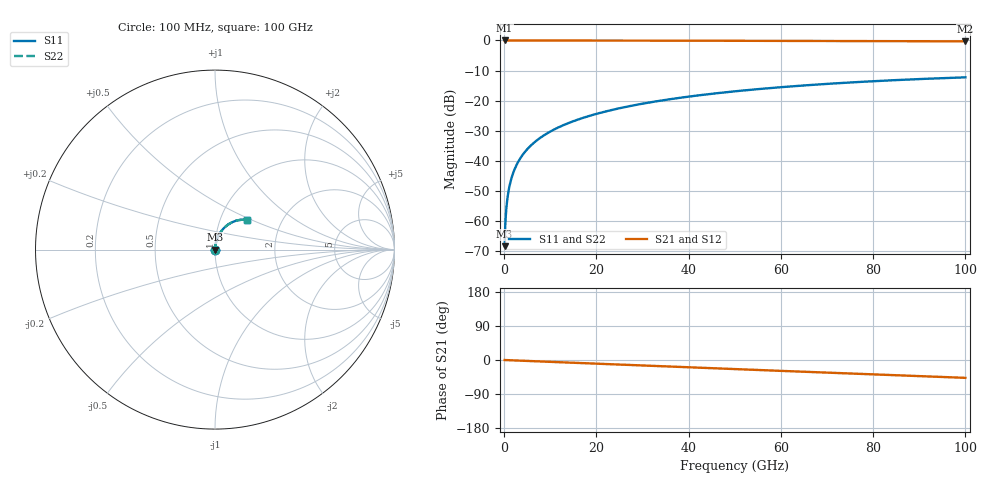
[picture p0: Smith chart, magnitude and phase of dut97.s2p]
! Touchstone file exported from HFSS 2026.1.0
!  File:  C:/ffzhzh/LocalFiles/Ansys_Project_Files/temp_train_TSV_97_1783505715_41296.aedt
!  Generated:  06:16:42 PM Jul  8, 2026
!  Design:  TSV
!  Project:  temp_train_TSV_97_1783505715_41296
! Variables:
!  h_bsmrdl = 2um
!  h_ox = 20um
!  h_rdl = 5um
!  h_sub = 86.63um
!  h_tmrdl = 5um
!  h_tsv = 86.63um
!  h_via = 3um
!  l_bsmrdl = 300um
!  l_sub = 417.82um
!  l_tmrdl = 200um
!  m_sub = 200um
!  pitch = 58.33um
!  r_tsv = 8.91um
!  s_tmrdl = 10um
!  w_bsmrdl = 18um
!  w_sub = 500um
!  w_tmrdl = 12um
!  x_tsv_center1 = 206um
!  x_tsv_center2 = 524um
!  x_tsv_center3 = 736um
!  x_tsv_center4 = 1054um
!  x_tsv_center5 = 1266um
!  x_tsv_center6 = 1584um
# GHz S MA R 50.000000
! Terminal data exported
! Port[1] = TSV1_1_T1
! Port[2] = TSV1_1_T2
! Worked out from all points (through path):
!   1000 points, 100 MHz to 100 GHz, reference 50 ohm
!   highest |S21| = 0.00 dB at 100 MHz (marker M1); lowest = -0.3 dB at 100 GHz (marker M2)
!   group delay of S21, straight-line fit = 1.31 ps
!   lowest |S11| = -68.4 dB at 100 MHz (marker M3), VSWR 1.00, Z = 50 + j0.0346 ohm
!   |S11| at or under -10 dB: start of sweep to end of sweep
!   |S22| runs from -68.4 to -12.3 dB; largest |S21 - S12| = 3.5e-15
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0.1  0.0003799 65.4  0.9998 -0.1  0.9998 -0.1  0.0003799 65.4
! Gamma 0 0 0 0
! Port Impedance 50 0 50 0
0.3  0.001043 79.6  0.9998 -0.2  0.9998 -0.2  0.001043 79.6
0.7  0.002342 83.1  0.9997 -0.4  0.9997 -0.4  0.002342 83.1
0.8  0.002659 83.5  0.9997 -0.4  0.9997 -0.4  0.002659 83.5
1  0.003289 84.0  0.9997 -0.5  0.9997 -0.5  0.003289 84.0
1.3  0.004226 84.5  0.9996 -0.6  0.9996 -0.6  0.004226 84.5
1.7  0.005467 84.8  0.9996 -0.8  0.9996 -0.8  0.005467 84.8
2.3  0.007318 85.1  0.9995 -1.1  0.9995 -1.1  0.007318 85.1
3  0.009462 85.2  0.9994 -1.5  0.9994 -1.5  0.009462 85.2
3.8  0.0119 85.1  0.9993 -1.9  0.9993 -1.9  0.0119 85.1
4.8  0.01493 85.0  0.9992 -2.3  0.9992 -2.3  0.01493 85.0
6  0.01856 84.7  0.999 -2.9  0.999 -2.9  0.01856 84.7
8.8  0.02698 83.7  0.9987 -4.3  0.9987 -4.3  0.02698 83.7
12.4  0.03773 82.2  0.9982 -6.0  0.9982 -6.0  0.03773 82.2
16.8  0.05075 80.4  0.9974 -8.1  0.9974 -8.1  0.05075 80.4
24.2  0.0723 77.0  0.9958 -11.7  0.9958 -11.7  0.0723 77.1
33.4  0.09836 72.8  0.9933 -16.1  0.9933 -16.1  0.09836 72.8
41.2  0.1196 69.2  0.9908 -19.8  0.9908 -19.8  0.1196 69.2
50.1  0.1428 65.1  0.9875 -24.0  0.9875 -24.0  0.1428 65.1
66.7  0.1824 57.4  0.9807 -31.8  0.9807 -31.8  0.1824 57.5
83.4  0.2164 49.8  0.9735 -39.5  0.9735 -39.5  0.2164 49.8
100  0.2435 42.3  0.9667 -47.1  0.9667 -47.1  0.2435 42.3
